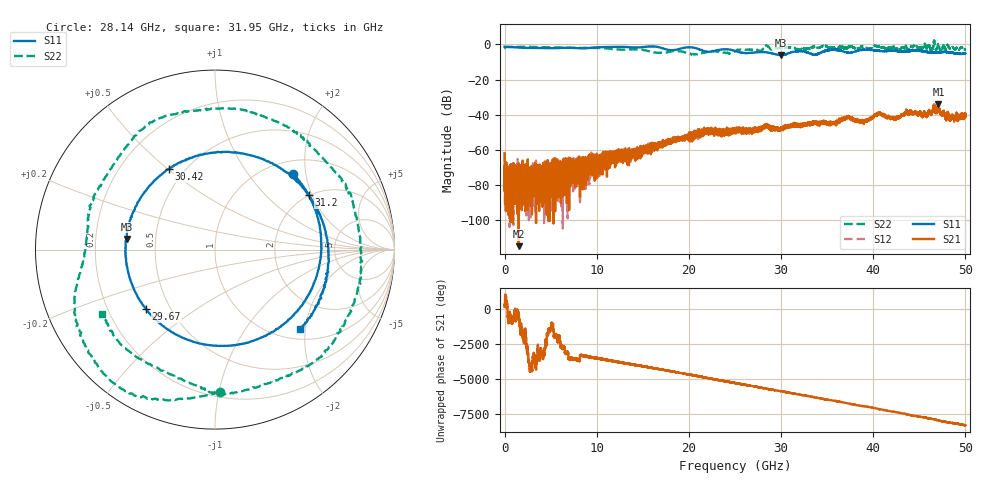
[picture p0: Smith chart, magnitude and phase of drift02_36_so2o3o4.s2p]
!Created with skrf (http://scikit-rf.org).
# Hz S RI R 50.0
!freq ReS11 ImS11 ReS21 ImS21 ReS12 ImS12 ReS22 ImS22
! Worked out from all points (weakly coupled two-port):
!   10001 points, 300 kHz to 50 GHz, reference 50 ohm
!   highest |S21| = -34.20 dB at 47.08 GHz (marker M1); lowest = -115.2 dB at 1.535 GHz (marker M2)
!   lowest |S11| = -6.1 dB at 30.02 GHz (marker M3), VSWR 2.97, Z = 16.9 + j2.62 ohm
!   |S11| at or under -10 dB: nowhere
!   |S22| runs from -5.7 to 2.3 dB; largest |S21 - S12| = 0.0039
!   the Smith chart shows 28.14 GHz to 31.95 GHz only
!   S11 on the Smith chart (normalised r, x): 28.14 GHz: 1.27, +1.70; 29.67 GHz: 0.37, -0.33; 30.42 GHz: 0.41, +0.51; 31.2 GHz: 1.99, +1.90; 31.95 GHz: 1.22, -1.88
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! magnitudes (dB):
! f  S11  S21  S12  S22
! 300 kHz  -1.3  -62.2  -61.4  -2.1
! 255.3 MHz  -1.4  -75.1  -76.1  -1.4
! 1.535 GHz  -1.7  -115.2  -76.3  -1.4
! 4.965 GHz  -2.1  -71.5  -71.7  -1.6
! 8.335 GHz  -2.2  -70.0  -74.2  -1.9
! 16.67 GHz  -1.5  -58.5  -59.0  -4.7
! 21.73 GHz  -3.9  -49.5  -49.4  -4.5
! 25 GHz  -3.7  -50.1  -49.3  -3.9
! 28.14 GHz  -4.3  -47.4  -46.6  -2.0
! 29.67 GHz  -5.9  -48.5  -47.9  -2.1
! 30.02 GHz  -6.1  -48.6  -47.7  -2.0
! 30.42 GHz  -5.7  -47.4  -46.7  -1.9
! 31.2 GHz  -4.4  -46.7  -46.4  -1.7
! 31.95 GHz  -3.7  -46.1  -46.1  -2.8
! 33.34 GHz  -5.5  -44.8  -45.1  -1.5
! 37.26 GHz  -4.7  -41.2  -41.5  -1.5
! 38.88 GHz  -3.0  -44.3  -44.6  -1.4
! 40.64 GHz  -3.7  -38.7  -38.9  -1.0
! 41.67 GHz  -3.7  -41.3  -40.9  -1.9
! 47.08 GHz  -4.6  -34.2  -36.1  0.6
! 48.53 GHz  -4.7  -40.7  -40.9  -1.7
! 50 GHz  -5.0  -40.6  -40.4  -2.7
